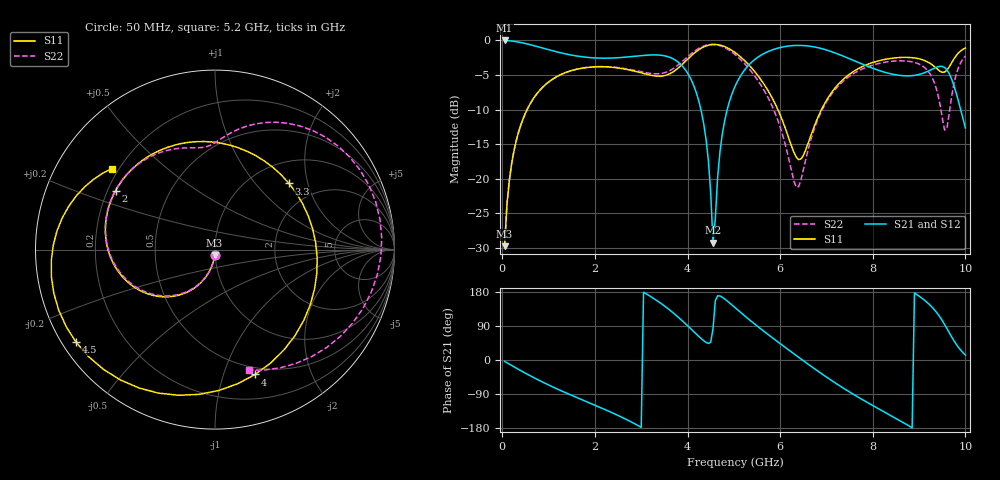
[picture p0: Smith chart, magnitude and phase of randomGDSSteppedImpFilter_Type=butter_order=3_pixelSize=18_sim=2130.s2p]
! freq	dB(S11)	phase(S11)	dB(S12)	phase(S12)
!  dB(S21)	phase(S21)	dB(S22)	phase(S22)
!S-par simulation data
#  GHz  S  DB  R 50
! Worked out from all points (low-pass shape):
!   200 points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, 50 MHz to 10 GHz, reference 50 ohm
!   highest |S21| = -0.01 dB at 50 MHz (marker M1); lowest = -29.2 dB at 4.55 GHz (marker M2)
!   |S21| within 3 dB of the highest: start of sweep to 3.771 GHz; 5.408 GHz to 7.624 GHz (2.216 GHz wide, 34 % of centre)
!   lowest |S11| = -29.7 dB at 50 MHz (marker M3), VSWR 1.07, Z = 49.7 - j3.23 ohm
!   |S11| at or under -10 dB: start of sweep to 536.4 MHz; 5.95 GHz to 6.893 GHz (943.6 MHz wide, 14.7 % of centre)
!   |S22| runs from -29.7 to -0.6 dB; largest |S21 - S12| = 0
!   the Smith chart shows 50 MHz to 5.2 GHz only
!   S11 on the Smith chart (normalised r, x): 50 MHz: 0.99, -0.06; 2 GHz: 0.23, +0.26; 3.3 GHz: 1.44, +1.53; 4 GHz: 0.43, -1.28; 4.5 GHz: 0.04, -0.30; 5.2 GHz: 0.17, +0.34
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0.05  -29.74 -93.7  -0.01 -3.6  -0.01 -3.6  -29.74 -93.8
0.5  -10.51 -125.1  -0.45 -34.9  -0.45 -34.9  -10.51 -125.9
1.75  -3.99 163.1  -2.39 -106.4  -2.39 -106.4  -3.98 163.3
2  -3.82 149.4  -2.54 -119.3  -2.54 -119.3  -3.81 151.3
3.3  -5.14 41.8  -2.10 159.9  -2.10 159.9  -4.83 97.7
3.4  -5.18 27.6  -2.13 151.5  -2.13 151.5  -4.80 94.9
4  -2.73 -72.2  -4.72 90.6  -4.72 90.6  -2.38 68.6
4.5  -0.63 -146.2  -22.00 46.7  -22.00 46.7  -0.59 16.6
4.55  -0.60 -152.6  -29.24 82.7  -29.24 82.7  -0.59 10.4
4.75  -0.78 -176.2  -13.57 165.7  -13.57 165.7  -0.89 -15.2
5.05  -1.87 154.3  -6.29 135.5  -6.29 135.5  -2.18 -54.5
5.2  -2.72 141.9  -4.56 119.9  -4.56 119.9  -3.13 -74.2
5.85  -8.61 104.6  -1.32 56.9  -1.32 56.9  -9.87 -162.3
6.35  -16.91 124.1  -0.73 11.5  -0.73 11.5  -21.24 72.1
6.7  -13.07 169.2  -0.90 -19.4  -0.90 -19.4  -13.53 -41.1
7.4  -5.41 149.0  -2.38 -77.0  -2.38 -77.0  -5.68 -128.0
8.35  -2.64 103.3  -4.77 -143.8  -4.77 -143.8  -3.07 146.6
8.95  -2.59 75.6  -5.00 172.9  -5.00 172.9  -3.29 92.0
9.35  -3.90 60.7  -3.95 129.8  -3.95 129.8  -6.48 31.8
9.6  -4.32 67.2  -4.25 83.2  -4.25 83.2  -12.77 -102.8
9.8  -2.21 64.7  -7.60 41.9  -7.60 41.9  -4.94 160.1
10  -1.11 52.4  -12.66 12.9  -12.66 12.9  -2.26 119.1
